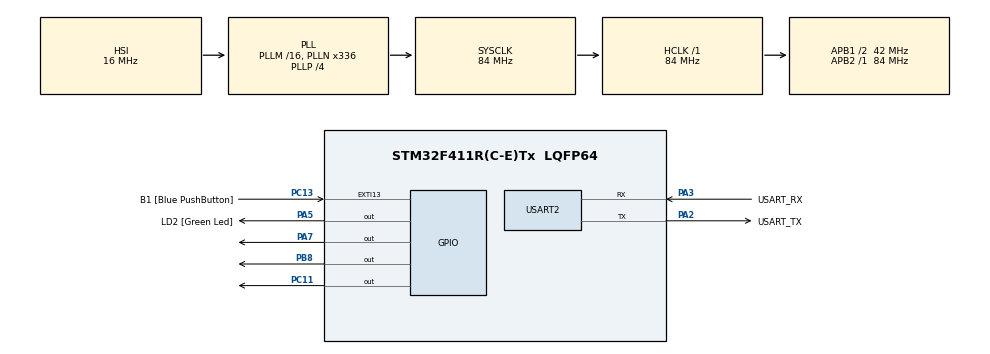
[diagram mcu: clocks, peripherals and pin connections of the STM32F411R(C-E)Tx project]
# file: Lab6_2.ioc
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FREERTOS.Tasks01=defaultTask,0,128,StartDefaultTask,Default,NULL,Dynamic,NULL,NULL
FREERTOS.configUSE_TIMERS=1
Mcu.Family=STM32F4
Mcu.Name=STM32F411R(C-E)Tx
Mcu.Package=LQFP64
NVIC.PriorityGroup=NVIC_PRIORITYGROUP_4
PA13.GPIO_Label=TMS
PA13.Mode=Serial_Wire
PA13.Signal=SYS_JTMS-SWDIO
PA14.GPIO_Label=TCK
PA14.Mode=Serial_Wire
PA14.Signal=SYS_JTCK-SWCLK
PA2.GPIO_Label=USART_TX
PA2.Mode=Asynchronous
PA2.Signal=USART2_TX
PA3.GPIO_Label=USART_RX
PA3.Mode=Asynchronous
PA3.Signal=USART2_RX
PA5.GPIO_Label=LD2 [Green Led]
PA5.Signal=GPIO_Output
PA7.Signal=GPIO_Output
PB3.GPIO_Label=SWO
PB3.Signal=SYS_JTDO-SWO
PB8.Signal=GPIO_Output
PC11.Signal=GPIO_Output
PC13-ANTI_TAMP.GPIO_Label=B1 [Blue PushButton]
PC13-ANTI_TAMP.GPIO_ModeDefaultEXTI=GPIO_MODE_IT_FALLING
PC13-ANTI_TAMP.Signal=GPXTI13
PC14-OSC32_IN.Mode=LSE-External-Oscillator
PC14-OSC32_IN.Signal=RCC_OSC32_IN
PC15-OSC32_OUT.Mode=LSE-External-Oscillator
PC15-OSC32_OUT.Signal=RCC_OSC32_OUT
PH0\ -\ OSC_IN.Mode=HSE-External-Clock-Source
PH0\ -\ OSC_IN.Signal=RCC_OSC_IN
PH1\ -\ OSC_OUT.Mode=HSE-External-Clock-Source
PH1\ -\ OSC_OUT.Signal=RCC_OSC_OUT
ProjectManager.HeapSize=0x200
ProjectManager.StackSize=0x400
ProjectManager.TargetToolchain=STM32CubeIDE
RCC.48MHZClocksFreq_Value=84000000
RCC.AHBFreq_Value=84000000
RCC.APB1CLKDivider=RCC_HCLK_DIV2
RCC.APB1Freq_Value=42000000
RCC.APB1TimFreq_Value=84000000
RCC.APB2Freq_Value=84000000
RCC.APB2TimFreq_Value=84000000
RCC.CortexFreq_Value=84000000
RCC.FLatency-AdvancedSettings=FLASH_LATENCY_2
RCC.HCLKFreq_Value=84000000
RCC.HSE_VALUE=8000000
RCC.HSI_VALUE=16000000
RCC.PLLN=336
RCC.PLLP=RCC_PLLP_DIV4
RCC.SYSCLKFreq_VALUE=84000000
RCC.SYSCLKSource=RCC_SYSCLKSOURCE_PLLCLK
RCC.VCOOutputFreq_Value=336000000
USART2.VirtualMode=VM_ASYNC
VP_FREERTOS_VS_CMSIS_V1.Mode=CMSIS_V1
board=NUCLEO-F411RE

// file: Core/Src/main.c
/* USER CODE BEGIN Header */
/**
  ******************************************************************************
  * @file           : main.c
  * @brief          : Main program body
  ******************************************************************************
  * @attention
  *
  * Copyright (c) 2023 STMicroelectronics.
  * All rights reserved.
  *
  * This software is licensed under terms that can be found in the LICENSE file
  * in the root directory of this software component.
  * If no LICENSE file comes with this software, it is provided AS-IS.
  *
  ******************************************************************************
  */
/* USER CODE END Header */
#include "main.h"
#include "cmsis_os.h"

UART_HandleTypeDef huart2;

osThreadId defaultTaskHandle;

void SystemClock_Config(void);
static void MX_GPIO_Init(void);
static void MX_USART2_UART_Init(void);
void StartDefaultTask(void const * argument);

int main(void)
{

  /* MCU Configuration--------------------------------------------------------*/

  /* Reset of all peripherals, Initializes the Flash interface and the Systick. */
  HAL_Init();

  /* Configure the system clock */
  SystemClock_Config();

  /* Initialize all configured peripherals */
  MX_GPIO_Init();
  MX_USART2_UART_Init();

  /* Create the thread(s) */
  /* definition and creation of defaultTask */
  osThreadDef(defaultTask, StartDefaultTask, osPriorityNormal, 0, 128);
  defaultTaskHandle = osThreadCreate(osThread(defaultTask), NULL);

  /* Start scheduler */
  osKernelStart();
  /* We should never get here as control is now taken by the scheduler */
  /* Infinite loop */
  while (1)
  {

  }
}

void SystemClock_Config(void)
{
  RCC_OscInitTypeDef RCC_OscInitStruct = {0};
  RCC_ClkInitTypeDef RCC_ClkInitStruct = {0};

  /** Configure the main internal regulator output voltage
  */
  __HAL_RCC_PWR_CLK_ENABLE();
  __HAL_PWR_VOLTAGESCALING_CONFIG(PWR_REGULATOR_VOLTAGE_SCALE1);

  /** Initializes the RCC Oscillators according to the specified parameters
  * in the RCC_OscInitTypeDef structure.
  */
  RCC_OscInitStruct.OscillatorType = RCC_OSCILLATORTYPE_HSI;
  RCC_OscInitStruct.HSIState = RCC_HSI_ON;
  RCC_OscInitStruct.HSICalibrationValue = RCC_HSICALIBRATION_DEFAULT;
  RCC_OscInitStruct.PLL.PLLState = RCC_PLL_ON;
  RCC_OscInitStruct.PLL.PLLSource = RCC_PLLSOURCE_HSI;
  RCC_OscInitStruct.PLL.PLLM = 16;
  RCC_OscInitStruct.PLL.PLLN = 336;
  RCC_OscInitStruct.PLL.PLLP = RCC_PLLP_DIV4;
  RCC_OscInitStruct.PLL.PLLQ = 4;
  if (HAL_RCC_OscConfig(&RCC_OscInitStruct) != HAL_OK)
  {
    Error_Handler();
  }

  /** Initializes the CPU, AHB and APB buses clocks
  */
  RCC_ClkInitStruct.ClockType = RCC_CLOCKTYPE_HCLK|RCC_CLOCKTYPE_SYSCLK
                              |RCC_CLOCKTYPE_PCLK1|RCC_CLOCKTYPE_PCLK2;
  RCC_ClkInitStruct.SYSCLKSource = RCC_SYSCLKSOURCE_PLLCLK;
  RCC_ClkInitStruct.AHBCLKDivider = RCC_SYSCLK_DIV1;
  RCC_ClkInitStruct.APB1CLKDivider = RCC_HCLK_DIV2;
  RCC_ClkInitStruct.APB2CLKDivider = RCC_HCLK_DIV1;

  if (HAL_RCC_ClockConfig(&RCC_ClkInitStruct, FLASH_LATENCY_2) != HAL_OK)
  {
    Error_Handler();
  }
}

static void MX_USART2_UART_Init(void)
{

  huart2.Instance = USART2;
  huart2.Init.BaudRate = 115200;
  huart2.Init.WordLength = UART_WORDLENGTH_8B;
  huart2.Init.StopBits = UART_STOPBITS_1;
  huart2.Init.Parity = UART_PARITY_NONE;
  huart2.Init.Mode = UART_MODE_TX_RX;
  huart2.Init.HwFlowCtl = UART_HWCONTROL_NONE;
  huart2.Init.OverSampling = UART_OVERSAMPLING_16;
  if (HAL_UART_Init(&huart2) != HAL_OK)
  {
    Error_Handler();
  }

}

static void MX_GPIO_Init(void)
{
  GPIO_InitTypeDef GPIO_InitStruct = {0};

  /* GPIO Ports Clock Enable */
  __HAL_RCC_GPIOC_CLK_ENABLE();
  __HAL_RCC_GPIOH_CLK_ENABLE();
  __HAL_RCC_GPIOA_CLK_ENABLE();
  __HAL_RCC_GPIOB_CLK_ENABLE();

  /*Configure GPIO pin Output Level */
  HAL_GPIO_WritePin(GPIOA, LD2_Pin|GPIO_PIN_7, GPIO_PIN_RESET);

  /*Configure GPIO pin Output Level */
  HAL_GPIO_WritePin(GPIOC, GPIO_PIN_11, GPIO_PIN_RESET);

  /*Configure GPIO pin Output Level */
  HAL_GPIO_WritePin(GPIOB, GPIO_PIN_8, GPIO_PIN_RESET);

  /*Configure GPIO pin : B1_Pin */
  GPIO_InitStruct.Pin = B1_Pin;
  GPIO_InitStruct.Mode = GPIO_MODE_IT_FALLING;
  GPIO_InitStruct.Pull = GPIO_NOPULL;
  HAL_GPIO_Init(B1_GPIO_Port, &GPIO_InitStruct);

  /*Configure GPIO pins : LD2_Pin PA7 */
  GPIO_InitStruct.Pin = LD2_Pin|GPIO_PIN_7;
  GPIO_InitStruct.Mode = GPIO_MODE_OUTPUT_PP;
  GPIO_InitStruct.Pull = GPIO_NOPULL;
  GPIO_InitStruct.Speed = GPIO_SPEED_FREQ_LOW;
  HAL_GPIO_Init(GPIOA, &GPIO_InitStruct);

  /*Configure GPIO pin : PC11 */
  GPIO_InitStruct.Pin = GPIO_PIN_11;
  GPIO_InitStruct.Mode = GPIO_MODE_OUTPUT_PP;
  GPIO_InitStruct.Pull = GPIO_NOPULL;
  GPIO_InitStruct.Speed = GPIO_SPEED_FREQ_LOW;
  HAL_GPIO_Init(GPIOC, &GPIO_InitStruct);

  /*Configure GPIO pin : PB8 */
  GPIO_InitStruct.Pin = GPIO_PIN_8;
  GPIO_InitStruct.Mode = GPIO_MODE_OUTPUT_PP;
  GPIO_InitStruct.Pull = GPIO_NOPULL;
  GPIO_InitStruct.Speed = GPIO_SPEED_FREQ_LOW;
  HAL_GPIO_Init(GPIOB, &GPIO_InitStruct);

}

/* USER CODE BEGIN 4 */
uint32_t  exec;
void Timer_Callback_1(void const *arg)  {
	HAL_GPIO_TogglePin(GPIOA, GPIO_PIN_5);
}
void Timer_Callback_2(void const *arg)  {
	HAL_GPIO_TogglePin(GPIOA, GPIO_PIN_7);
}
void Timer_Callback_3(void const *arg)  {
	HAL_GPIO_TogglePin(GPIOB, GPIO_PIN_8);
}
void Timer_Callback_4(void const *arg)  {
	HAL_GPIO_TogglePin(GPIOC, GPIO_PIN_11);
}
/* USER CODE END 4 */

void StartDefaultTask(void const * argument)
{
  /* USER CODE BEGIN 5 */
	osTimerDef(Timer_1,Timer_Callback_1);
	osTimerId TimerTaskHandle_1 = osTimerCreate(osTimer(Timer_1), osTimerPeriodic, &exec);
	osTimerStart(TimerTaskHandle_1, 50);
	osTimerDef(Timer_2,Timer_Callback_2);
	osTimerId TimerTaskHandle_2 = osTimerCreate(osTimer(Timer_2), osTimerPeriodic, &exec);
	osTimerStart(TimerTaskHandle_2, 18);
	osTimerDef(Timer_3,Timer_Callback_3);
	osTimerId TimerTaskHandle_3 = osTimerCreate(osTimer(Timer_3), osTimerPeriodic, &exec);
	osTimerStart(TimerTaskHandle_3, 128);
	osTimerDef(Timer_4,Timer_Callback_4);
	osTimerId TimerTaskHandle_4 = osTimerCreate(osTimer(Timer_4), osTimerPeriodic, &exec);
	osTimerStart(TimerTaskHandle_4, 64);
  /* Infinite loop */
  for(;;)
  {
    osDelay(1);
  }
  /* USER CODE END 5 */
}

void Error_Handler(void)
{
  __disable_irq();
  while (1)
  {
  }
}
